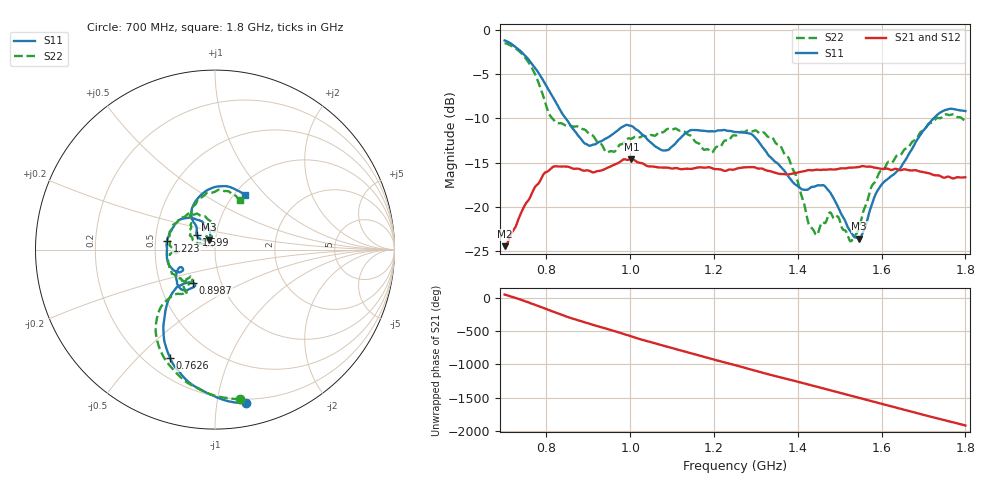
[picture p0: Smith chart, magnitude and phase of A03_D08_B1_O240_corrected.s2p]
! Created with skrf 1.9.0 (http://scikit-rf.org).
# Hz S RI R 50.0
!freq ReS11 ImS11 ReS21 ImS21 ReS12 ImS12 ReS22 ImS22
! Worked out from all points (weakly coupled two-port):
!   1601 points, 700 MHz to 1.8 GHz, reference 50 ohm
!   highest |S21| = -14.59 dB at 1.002 GHz (marker M1); lowest = -24.4 dB at 700 MHz (marker M2)
!   lowest |S11| = -23.6 dB at 1.546 GHz (marker M3), VSWR 1.14, Z = 46.2 + j5.17 ohm
!   |S11| at or under -10 dB: 846.3 MHz to 1.724 GHz (877.7 MHz wide, 68.3 % of centre)
!   |S22| runs from -23.9 to -1.5 dB; largest |S21 - S12| = 0.0038
!   S11 on the Smith chart (normalised r, x): 700 MHz: 0.17, -1.21; 762.6 MHz: 0.30, -0.63; 898.7 MHz: 0.73, -0.29; 1.223 GHz: 0.58, +0.06; 1.599 GHz: 0.80, +0.14; 1.8 GHz: 1.11, +0.78
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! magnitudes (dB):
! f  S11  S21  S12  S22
! 700 MHz  -1.2  -24.4  -24.2  -1.5
! 762.6 MHz  -3.7  -18.8  -18.7  -4.1
! 813.4 MHz  -7.4  -15.5  -15.6  -10.0
! 883.6 MHz  -12.4  -15.8  -15.7  -11.2
! 898.7 MHz  -13.0  -15.9  -15.9  -11.6
! 945.4 MHz  -12.2  -15.6  -15.6  -13.8
! 1.002 GHz  -10.8  -14.6  -14.7  -12.3
! 1.067 GHz  -13.4  -15.5  -15.5  -11.6
! 1.193 GHz  -11.4  -15.6  -15.6  -13.8
! 1.223 GHz  -11.3  -15.9  -15.9  -12.6
! 1.25 GHz  -11.5  -15.7  -15.7  -11.9
! 1.358 GHz  -15.4  -16.3  -16.2  -13.0
! 1.395 GHz  -17.5  -16.2  -16.2  -16.4
! 1.434 GHz  -17.7  -15.9  -15.8  -22.4
! 1.468 GHz  -17.8  -15.8  -15.8  -21.6
! 1.495 GHz  -19.9  -15.7  -15.7  -21.1
! 1.526 GHz  -22.8  -15.6  -15.6  -23.9
! 1.546 GHz  -23.6  -15.5  -15.5  -22.4
! 1.599 GHz  -17.6  -15.7  -15.7  -15.9
! 1.617 GHz  -16.7  -15.7  -15.7  -14.9
! 1.733 GHz  -9.6  -16.4  -16.5  -9.9
! 1.8 GHz  -9.2  -16.6  -16.6  -10.2
